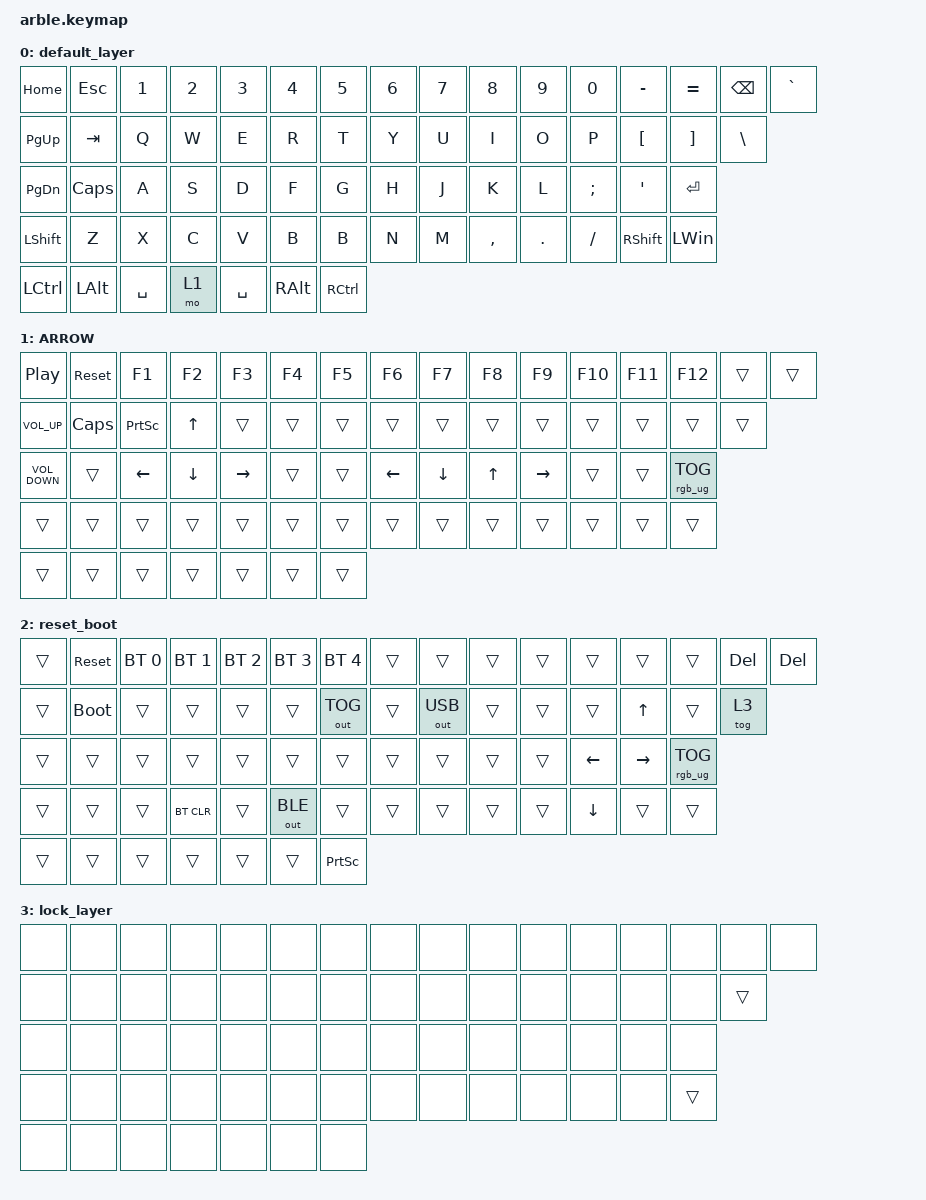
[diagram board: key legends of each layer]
/*
 * Copyright (c) 2021 Nick Winans
 *
 * SPDX-License-Identifier: MIT
 */

#include <behaviors.dtsi>
#include <dt-bindings/zmk/bt.h>
#include <dt-bindings/zmk/keys.h>
#include <dt-bindings/zmk/outputs.h>
#include <dt-bindings/zmk/rgb.h>

/ {
    keymap {
        compatible = "zmk,keymap";

        default_layer {
            bindings = <
&kp HOME          &kp ESC   &kp N1     &kp N2  &kp N3     &kp N4    &kp N5     &kp N6  &kp N7  &kp N8     &kp N9   &kp N0    &kp MINUS  &kp EQUAL     &kp BACKSPACE  &kp GRAVE
&kp PAGE_UP       &kp TAB   &kp Q      &kp W   &kp E      &kp R     &kp T      &kp Y   &kp U   &kp I      &kp O    &kp P     &kp LBKT   &kp RBKT      &kp BACKSLASH
&kp PG_DN         &kp CAPS  &kp A      &kp S   &kp D      &kp F     &kp G      &kp H   &kp J   &kp K      &kp L    &kp SEMI  &kp SQT    &kp RET
&kp LSHFT         &kp Z     &kp X      &kp C   &kp V      &kp B     &kp B      &kp N   &kp M   &kp COMMA  &kp DOT  &kp FSLH  &kp RSHFT  &kp LEFT_WIN
&kp LEFT_CONTROL  &kp LALT  &kp SPACE  &mo 1   &kp SPACE  &kp RALT  &kp RCTRL
            >;
        };

        ARROW {
            bindings = <
&kp C_PLAY_PAUSE   &sys_reset  &kp F1           &kp F2    &kp F3     &kp F4  &kp F5  &kp F6    &kp F7    &kp F8  &kp F9     &kp F10  &kp F11  &kp F12          &trans  &trans
&kp C_VOLUME_UP    &kp CAPS    &kp PRINTSCREEN  &kp UP    &trans     &trans  &trans  &trans    &trans    &trans  &trans     &trans   &trans   &trans           &trans
&kp C_VOLUME_DOWN  &trans      &kp LEFT         &kp DOWN  &kp RIGHT  &trans  &trans  &kp LEFT  &kp DOWN  &kp UP  &kp RIGHT  &trans   &trans   &rgb_ug RGB_TOG
&trans             &trans      &trans           &trans    &trans     &trans  &trans  &trans    &trans    &trans  &trans     &trans   &trans   &trans
&trans             &trans      &trans           &trans    &trans     &trans  &trans
            >;
        };

        reset_boot {
            bindings = <
&trans  &sys_reset   &bt BT_SEL 0  &bt BT_SEL 1  &bt BT_SEL 2  &bt BT_SEL 3  &bt BT_SEL 4     &trans  &trans        &trans  &trans  &trans          &trans     &trans           &kp DEL  &kp DEL
&trans  &bootloader  &trans        &trans        &trans        &trans        &out OUT_TOG     &trans  &out OUT_USB  &trans  &trans  &trans          &kp UP     &trans           &tog 3
&trans  &trans       &trans        &trans        &trans        &trans        &trans           &trans  &trans        &trans  &trans  &kp LEFT_ARROW  &kp RIGHT  &rgb_ug RGB_TOG
&trans  &trans       &trans        &bt BT_CLR    &trans        &out OUT_BLE  &trans           &trans  &trans        &trans  &trans  &kp DOWN        &trans     &trans
&trans  &trans       &trans        &trans        &trans        &trans        &kp PRINTSCREEN
            >;
        };

        lock_layer {
            bindings = <
&none  &none  &none  &none  &none  &none  &none  &none  &none  &none  &none  &none  &none  &none   &none   &none
&none  &none  &none  &none  &none  &none  &none  &none  &none  &none  &none  &none  &none  &none   &trans
&none  &none  &none  &none  &none  &none  &none  &none  &none  &none  &none  &none  &none  &none
&none  &none  &none  &none  &none  &none  &none  &none  &none  &none  &none  &none  &none  &trans
&none  &none  &none  &none  &none  &none  &none
            >;
        };
    };
};
